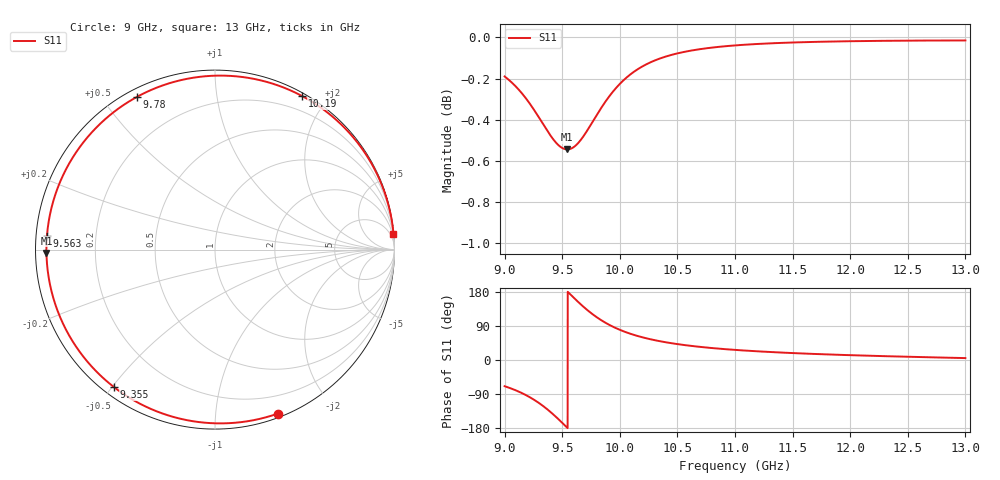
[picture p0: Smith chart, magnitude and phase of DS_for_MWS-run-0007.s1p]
! TOUCHSTONE file generated by CST DESIGN STUDIO
! Date and time: Tue Feb  4 14:06:53 2025
! Project name: C:\Work\MatlabApps\UnitCellOptimizationMatlab\CST\unitcell.cst
! Tree item: Tasks\Sweep1\SPara1\S-Parameters
! Header version: 2024
! Port assignment regex: !\s*Touchstone port\s*([0-9]+)\s*=\s*(CST MWS port|CST DES external port|CST DES block port)\s*(.+)\s* \(\"(.*)\"\)(\s*mode\s*([0-9]+))?.*
! Touchstone port assignment:
! Touchstone port 1 = CST DES external port 1 ("")
# GHz S MA R 50
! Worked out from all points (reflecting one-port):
!   4001 points, 9 GHz to 13 GHz, reference 50 ohm
!   lowest |S11| = -0.5 dB at 9.544 GHz (marker M1), VSWR 31.92, Z = 1.57 - j0.493 ohm
!   phase of S11 starts at -69 deg and turns -286 deg over the sweep
!   S11 on the Smith chart (normalised r, x): 9 GHz: 0.03, -1.45; 9.355 GHz: 0.03, -0.51; 9.563 GHz: 0.03, +0.04; 9.78 GHz: 0.03, +0.61; 10.19 GHz: 0.03, +1.72; 13 GHz: 0, +23
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9  0.9784 -69.1
9.101  0.9727 -80.6
9.21  0.9644 -96.7
9.286  0.9574 -111.0
9.355  0.9506 -126.3
9.424  0.9444 -144.0
9.464  0.9417 -155.2
9.5  0.94 -165.7
9.544  0.9393 -178.9
9.563  0.9394 175.4
9.617  0.9413 159.4
9.678  0.9456 142.2
9.729  0.9504 129.0
9.78  0.9555 117.1
9.827  0.9602 107.3
9.878  0.9649 97.9
9.934  0.9696 88.8
10  0.9743 79.7
10.09  0.9794 69.4
10.189  0.9836 60.5
10.331  0.9879 50.6
10.5  0.9911 42.0
10.721  0.9937 33.8
11  0.9955 26.7
11.5  0.9972 18.3
12  0.9979 12.7
12.5  0.9982 8.5
13  0.9983 5.0
